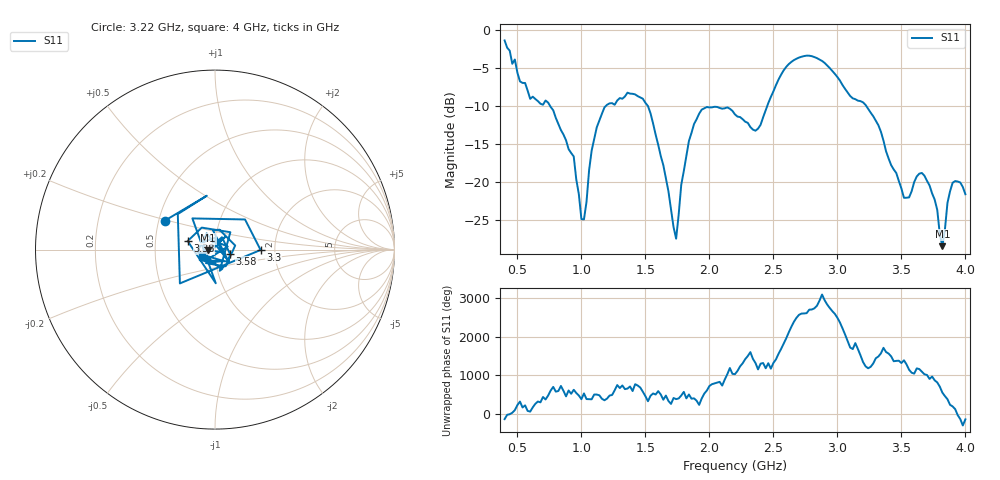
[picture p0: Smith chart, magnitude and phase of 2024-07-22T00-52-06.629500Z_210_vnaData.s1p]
!Created with skrf (http://scikit-rf.org).
# Hz S RI R 50.0
!freq ReS11 ImS11
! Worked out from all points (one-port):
!   181 points, 400 MHz to 4 GHz, reference 50 ohm
!   lowest |S11| = -28.4 dB at 3.82 GHz (marker M1), VSWR 1.08, Z = 46.4 - j0.352 ohm
!   |S11| at or under -10 dB: 756.5 MHz to 1.189 GHz (433 MHz wide, 44.5 % of centre); 1.52 GHz to 2.451 GHz (930.7 MHz wide, 46.9 % of centre); 3.226 GHz to end of sweep
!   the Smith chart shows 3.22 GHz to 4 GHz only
!   S11 on the Smith chart (normalised r, x): 3.22 GHz: 0.54, +0.19; 3.3 GHz: 1.68, -0.01; 3.38 GHz: 0.73, +0.07; 3.58 GHz: 1.18, -0.06; 4 GHz: 0.86, -0.07
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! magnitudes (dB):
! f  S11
! 400 MHz  -1.3
! 600 MHz  -9.0
! 740 MHz  -9.5
! 860 MHz  -13.7
! 940 MHz  -16.6
! 1.02 GHz  -24.9
! 1.12 GHz  -12.8
! 1.3 GHz  -8.9
! 1.52 GHz  -10.0
! 1.74 GHz  -27.5
! 1.76 GHz  -24.3
! 1.84 GHz  -14.6
! 1.92 GHz  -11.0
! 2.2 GHz  -11.1
! 2.38 GHz  -13.0
! 2.66 GHz  -3.9
! 2.88 GHz  -4.0
! 3.1 GHz  -8.7
! 3.22 GHz  -9.8
! 3.3 GHz  -11.9
! 3.38 GHz  -15.9
! 3.56 GHz  -22.0
! 3.58 GHz  -21.2
! 3.68 GHz  -19.2
! 3.76 GHz  -22.3
! 3.82 GHz  -28.4
! 3.9 GHz  -20.1
! 4 GHz  -21.6
